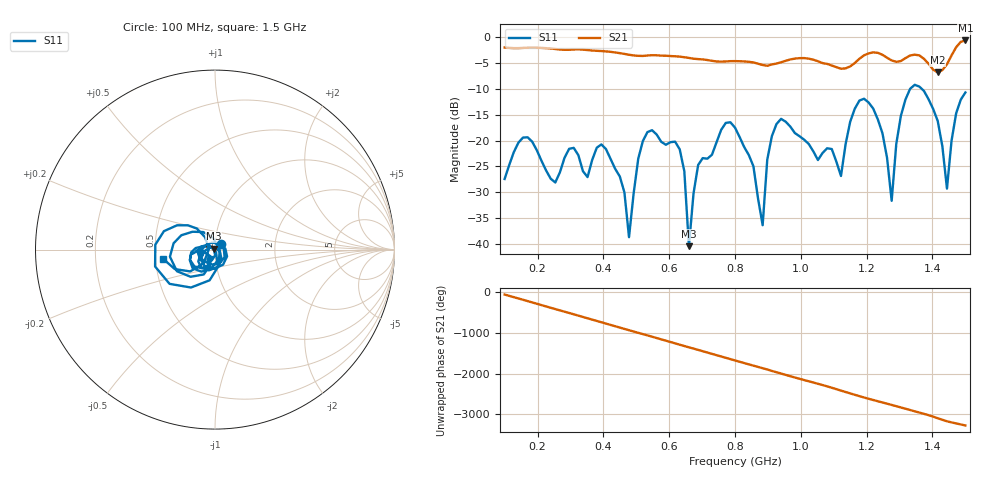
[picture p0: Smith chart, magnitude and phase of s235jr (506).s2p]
! NanoVNA-App
! Date: 2025-09-25 15:08:06
! Start: 100MHz Stop: 1,5GHz Points: 101
! S-Parameter data: F S11 S21 S12 S22
# Hz S RI R 50
!  Frequency  S11_Real  S11_Imag  S21_Real  S21_Imag  S12_Real  S12_Imag  S22_Real  S22_Imag
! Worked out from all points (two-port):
!   101 points, 100 MHz to 1.5 GHz, reference 50 ohm
!   highest |S21| = -0.60 dB at 1.5 GHz (marker M1); lowest = -6.8 dB at 1.416 GHz (marker M2)
!   |S21| within 3 dB of the highest: start of sweep to 518 MHz; 520.5 MHz to 598.4 MHz (77.91 MHz wide, 13.9 % of centre) (the widest 2 of 5)
!   lowest |S11| = -40.5 dB at 660 MHz (marker M3), VSWR 1.02, Z = 49.3 + j0.599 ohm
!   |S11| at or under -10 dB: start of sweep to 1.332 GHz; 1.368 GHz to end of sweep
!   S12 and S22 are empty: the file has one direction only
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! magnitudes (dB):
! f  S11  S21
! 100 MHz  -27.5  -2.0
! 156 MHz  -19.4  -2.0
! 338 MHz  -25.9  -2.4
! 408 MHz  -21.7  -2.7
! 478 MHz  -38.7  -3.4
! 520 MHz  -20.1  -3.6
! 576 MHz  -20.3  -3.5
! 632 MHz  -21.7  -3.7
! 660 MHz  -40.5  -4.0
! 688 MHz  -24.8  -4.2
! 800 MHz  -17.5  -4.6
! 884 MHz  -36.4  -5.4
! 926 MHz  -16.8  -5.1
! 1.038 GHz  -22.1  -4.3
! 1.122 GHz  -26.9  -6.1
! 1.192 GHz  -11.9  -3.5
! 1.248 GHz  -18.6  -3.4
! 1.276 GHz  -31.7  -4.5
! 1.332 GHz  -10.0  -3.5
! 1.416 GHz  -16.2  -6.8
! 1.444 GHz  -29.3  -5.2
! 1.5 GHz  -10.7  -0.6
